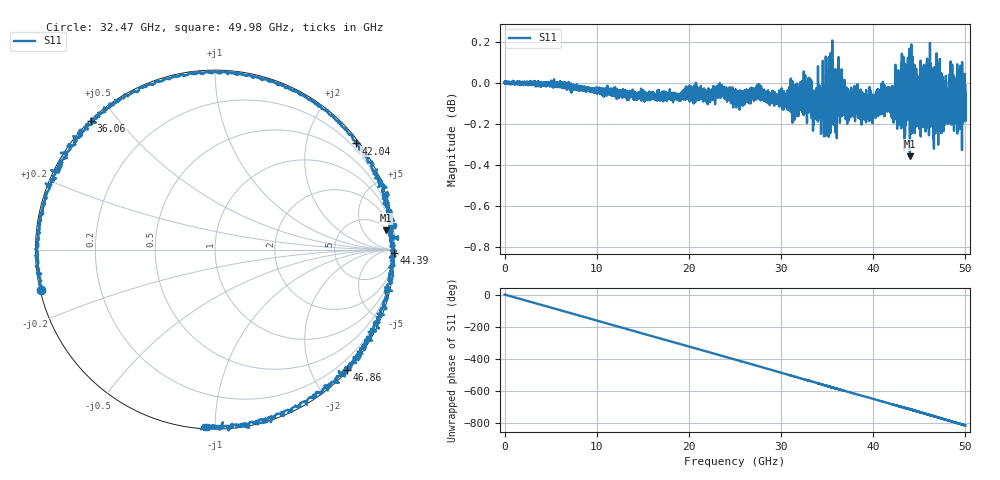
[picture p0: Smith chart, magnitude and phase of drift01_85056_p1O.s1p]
!Created with skrf (http://scikit-rf.org).
# Hz S RI R 50.0
!freq ReS11 ImS11
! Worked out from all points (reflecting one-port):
!   10001 points, 300 kHz to 50 GHz, reference 50 ohm
!   lowest |S11| = -0.4 dB at 43.98 GHz (marker M1), VSWR 48.69, Z = 289 + j786 ohm
!   phase of S11 starts at -0 deg and turns -814 deg over the sweep
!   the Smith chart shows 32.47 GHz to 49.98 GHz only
!   S11 on the Smith chart (normalised r, x): 32.47 GHz: 0.00, -0.11; 36.06 GHz: 0.00, +0.42; 42.04 GHz: 0.09, +2.98; 44.39 GHz: open; 46.86 GHz: 0.03, -2.58; 49.98 GHz: 0.01, -0.95
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300000  1 -0.0011
1.68029e9  0.8898 -0.4557
3.515279e9  0.5486 -0.8353
6.250262e9  -0.1873 -0.9804
9.575243e9  -0.9023 -0.4236
1.250022e10  -0.9178 0.3803
1.578521e10  -0.2461 0.9623
1.875019e10  0.5438 0.8285
2.196517e10  0.9885 0.0853
2.345516e10  0.941 -0.3258
2.500015e10  0.7095 -0.693
2.661014e10  0.3372 -0.9343
2.806013e10  -0.0715 -0.9898
2.954512e10  -0.4768 -0.8691
3.125011e10  -0.8204 -0.5417
3.247011e10  -0.9713 -0.2238
3.417009e10  -0.9548 0.2468
3.606008e10  -0.6911 0.7151
3.750008e10  -0.3521 0.918
3.972006e10  0.2511 0.9524
4.203505e10  0.7834 0.5916
4.375004e10  0.9783 0.1613
4.398004e10  0.9537 0.1073
4.439003e10  0.9974 -0.0179
4.685502e10  0.7335 -0.6688
4.855501e10  0.3266 -0.9323
4.998e10  -0.0497 -0.9866
5e10  -0.0721 -0.9921
